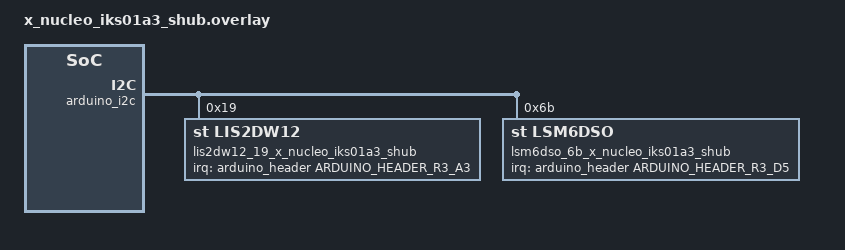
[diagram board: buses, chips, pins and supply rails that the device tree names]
/*
 * Copyright (c) 2019 STMicroelectronics
 *
 * SPDX-License-Identifier: Apache-2.0
 */

#include <zephyr/dt-bindings/gpio/arduino-header-r3.h>

/ {
	aliases {
		accel0 = &lis2dw12_19_x_nucleo_iks01a3_shub;
		accel1 = &lsm6dso_6b_x_nucleo_iks01a3_shub;
	};
};

&arduino_i2c {

	lis2dw12_19_x_nucleo_iks01a3_shub: lis2dw12@19 {
		compatible = "st,lis2dw12";
		reg = <0x19>;
		irq-gpios =  <&arduino_header ARDUINO_HEADER_R3_A3 GPIO_ACTIVE_HIGH>;
	};

	lsm6dso_6b_x_nucleo_iks01a3_shub: lsm6dso@6b {
		compatible = "st,lsm6dso";
		reg = <0x6b>;
		irq-gpios =  <&arduino_header ARDUINO_HEADER_R3_D5 GPIO_ACTIVE_HIGH>;
		int-pin = <2>;
	};
};
